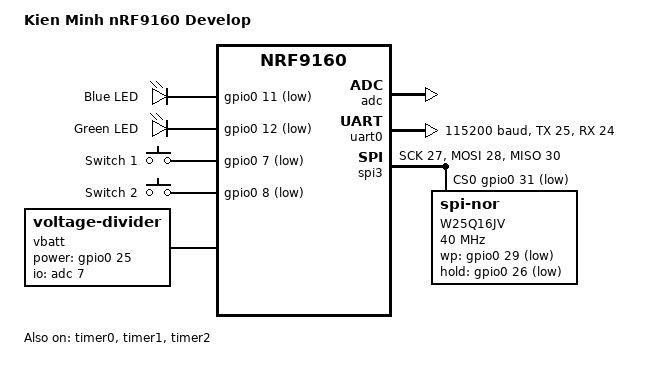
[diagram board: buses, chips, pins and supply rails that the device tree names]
/*
 * Copyright (c) 2018-2020 Nordic Semiconductor ASA
 * Copyright (c) 2021 Kien Minh Co.,Ltd
 *
 * SPDX-License-Identifier: Apache-2.0
 */

/ {
	model = "Kien Minh nRF9160 Develop";
	compatible = "kmt,dev-nrf9160";

	chosen {
		zephyr,console = &uart0;
		zephyr,shell-uart = &uart0;
		zephyr,uart-mcumgr = &uart0;
	};

	leds {
		compatible = "gpio-leds";
		blue_led: led_0 {
			gpios = <&gpio0 11 GPIO_ACTIVE_LOW>;
			label = "Blue LED";
		};
		green_led: led_1 {
			gpios = <&gpio0 12 GPIO_ACTIVE_LOW>;
			label = "Green LED";
		};
	};

	buttons {
		compatible = "gpio-keys";
		button0: button_0 {
			gpios = <&gpio0 7 (GPIO_PULL_UP | GPIO_ACTIVE_LOW)>;
			label = "Switch 1";
		};
		button1: button_1 {
			gpios = <&gpio0 8 (GPIO_PULL_UP | GPIO_ACTIVE_LOW)>;
			label = "Switch 2";
		};
	};

	/* These aliases are provided for compatibility with samples */
	aliases {
		led0 = &blue_led;
		led1 = &green_led;
		sw0 = &button0;
		sw1 = &button1;
	};
};

&adc {
	status = "okay";
};

&gpiote {
	status = "okay";
};

&gpio0 {
	status = "okay";
};

&uart0 {
	status = "okay";
	current-speed = <115200>;
	tx-pin = <25>;
	rx-pin = <24>;
};

&spi3 {
	compatible = "nordic,nrf-spim";
	status = "okay";
	sck-pin = <27>;
	mosi-pin = <28>;
	miso-pin = <30>;
	cs-gpios = <&gpio0 31 GPIO_ACTIVE_LOW>;
	w25q16jv: w25q16jv@0 {
		compatible = "jedec,spi-nor";
		label = "W25Q16JV";
		reg = <0>;
		spi-max-frequency = <40000000>;
		wp-gpios = <&gpio0 29 GPIO_ACTIVE_LOW>;
		hold-gpios = <&gpio0 26 GPIO_ACTIVE_LOW>;
		size = <0x1000000>;
		has-dpd;
		t-enter-dpd = <4000>;
		t-exit-dpd = <25000>;
		jedec-id = [ef 40 15];
	};
};

&timer0 {
	status = "okay";
};

&timer1 {
	status = "okay";
};

&timer2 {
	status = "okay";
};

&flash0 {

	partitions {
		compatible = "fixed-partitions";
		#address-cells = <1>;
		#size-cells = <1>;

		boot_partition: partition@0 {
			label = "mcuboot";
			reg = <0x00000000 0x10000>;
		};
		slot0_partition: partition@10000 {
			label = "image-0";
		};
		slot0_ns_partition: partition@40000 {
			label = "image-0-nonsecure";
		};
		slot1_partition: partition@80000 {
			label = "image-1";
		};
		slot1_ns_partition: partition@b0000 {
			label = "image-1-nonsecure";
		};
		scratch_partition: partition@f0000 {
			label = "image-scratch";
			reg = <0x000f0000 0xa000>;
		};
		storage_partition: partition@fa000 {
			label = "storage";
			reg = <0x000fa000 0x00006000>;
		};
	};
};

/ {

	reserved-memory {
		#address-cells = <1>;
		#size-cells = <1>;
		ranges;

		sram0_s: image_s@20000000 {
			/* Secure image memory */
		};

		sram0_bsd: image_bsd@20010000 {
			/* BSD (shared) memory */
		};

		sram0_ns: image_ns@20020000 {
			/* Non-Secure image memory */
		};
	};
};

/ {
	vbatt {
		compatible = "voltage-divider";
		io-channels = <&adc 7>;
		output-ohms = <100000>;
		full-ohms = <(100000 + 100000)>;
		power-gpios = <&gpio0 25 0>;
	};
};

/* Include partition configuration file */
#include "kmt_dev_nrf9160_partition_conf.dts"
